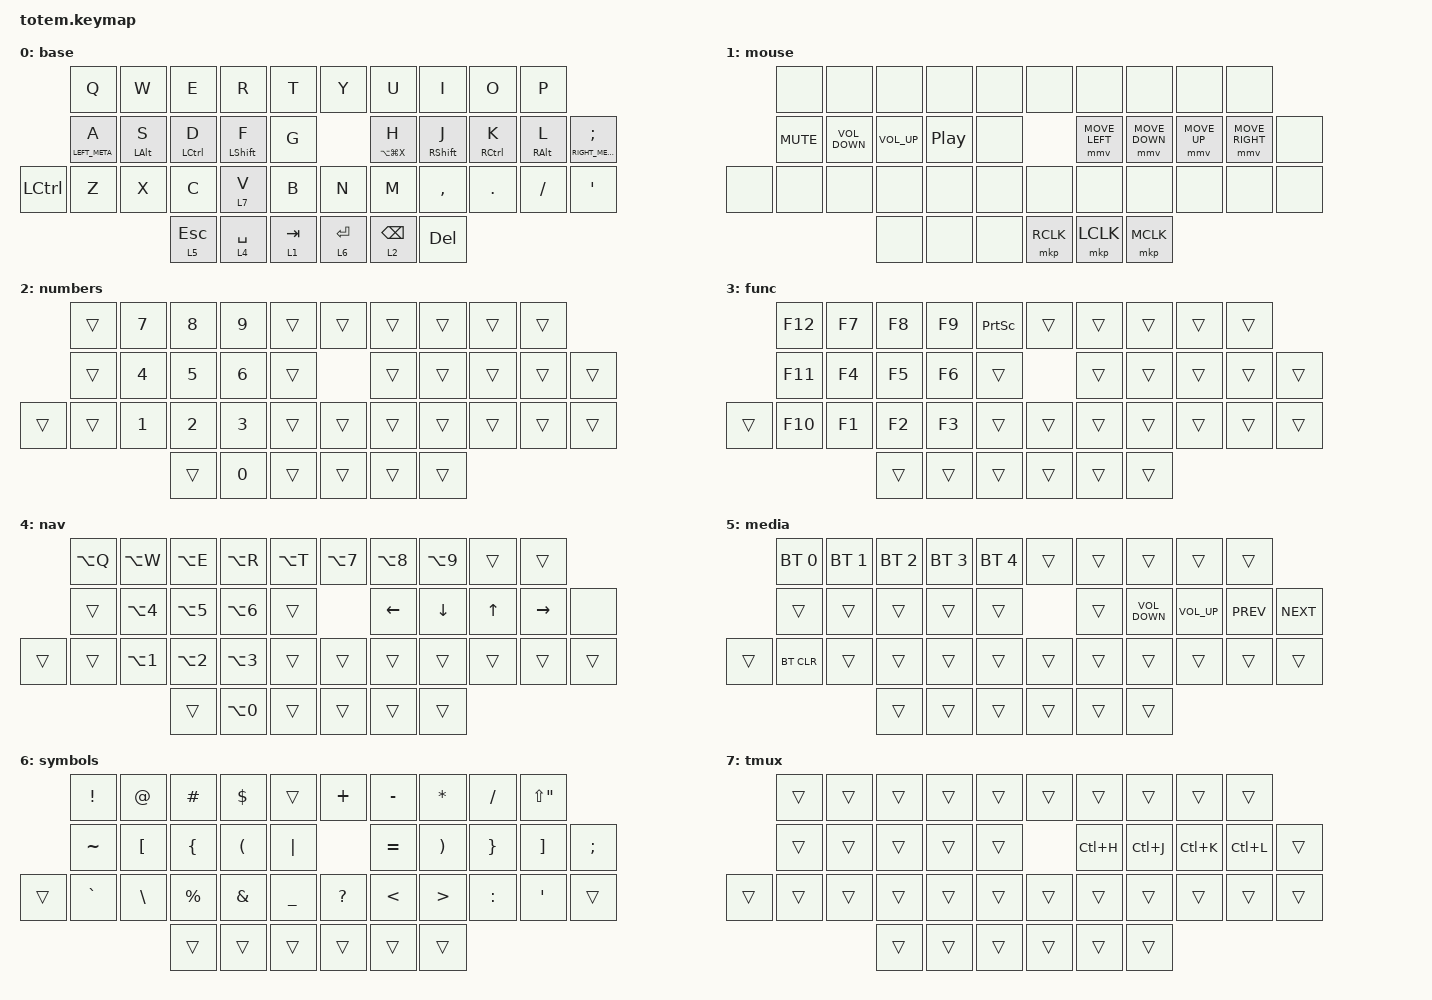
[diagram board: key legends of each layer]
//
//                                                        ▀▀▀▀▀     ▀▀▀▀▀          ▀▀█▀▀
//                                                        ▄▀▀▀▄  ▄  ▄▀▀▀▄  ▄  ▄▀▀▀▄  █  ▄▀▀▀▄
//                                                        █   █  █  █   █  █  █   █  █  █   █
//                                                         ▀▀▀   █   ▀▀▀   █   ▀▀▀   ▀   ▀▀▀
//                                                               █      ▄▄▄█▄▄▄    █   █  
//                                                               ▀      █  █  █     █▄█
//                                                             ▀▀▀▀▀    █  █  █      ▀
//                                                                      ▀  ▀  ▀
//
// ▄▄▄▄▄▄▄▄▄▄▄▄▄▄▄▄▄▄▄▄▄▄▄▄▄▄▄▄▄▄▄▄▄▄▄▄▄▄▄▄▄▄▄▄▄▄▄▄▄▄▄▄▄▄▄▄▄▄▄▄▄▄▄▄▄▄▄▄▄▄▄▄▄▄▄▄▄▄▄▄▄▄▄▄▄▄▄▄▄▄▄▄▄▄▄▄▄▄▄▄▄▄▄▄▄▄▄▄▄▄▄▄▄▄▄▄▄▄▄▄▄▄▄▄▄▄▄▄▄▄▄▄▄▄▄▄▄▄▄▄▄▄▄▄▄▄▄▄▄

#define ZMK_POINTING_DEFAULT_MOVE_VAL 750
#define ZMK_POINTING_DEFAULT_SCRL_VAL 12

#include <behaviors.dtsi>
#include <dt-bindings/zmk/bt.h>
#include <dt-bindings/zmk/keys.h>
#include <dt-bindings/zmk/pointing.h>

/ {
    behaviors {
        hml: homerow_mods_left {
            compatible = "zmk,behavior-hold-tap";
            #binding-cells = <2>;
            flavor = "balanced";
            tapping-term-ms = <280>;
            quick-tap-ms = <175>;
            require-prior-idle-ms = <150>;
            bindings = <&kp>, <&kp>;
            hold-trigger-key-positions = <5 6 7 8 9 15 16 17 18 19 25 26 27 28 29 32 33>;
            hold-trigger-on-release;
        };
        
        ltl: layer_tap_left {
            compatible = "zmk,behavior-hold-tap";
            #binding-cells = <2>;
            flavor = "balanced";
            tapping-term-ms = <280>;
            quick-tap-ms = <175>;
            require-prior-idle-ms = <150>;
            bindings = <&mo>, <&kp>;
            hold-trigger-key-positions = <5 6 7 8 9 15 16 17 18 19 25 26 27 28 29 32 33 34 35>;
            hold-trigger-on-release;
        };

        hmr: homerow_mods_right {
            compatible = "zmk,behavior-hold-tap";
            #binding-cells = <2>;
            flavor = "balanced";
            tapping-term-ms = <280>;
            quick-tap-ms = <175>;
            require-prior-idle-ms = <150>;
            bindings = <&kp>, <&kp>;
            hold-trigger-key-positions = <0 1 2 3 4 10 11 12 13 14 20 21 22 23 24 30 31>;
            hold-trigger-on-release;
        };

        // Hold = fire warpd activation chord once (self-contained, no trailing key),
        // tap = the key. tap-preferred (not balanced) so fast-typed letters like the
        // common H never misfire the chord — only a deliberate hold past the term does.
        hrw: hold_warpd {
            compatible = "zmk,behavior-hold-tap";
            #binding-cells = <2>;
            flavor = "tap-preferred";
            tapping-term-ms = <280>;
            quick-tap-ms = <175>;
            require-prior-idle-ms = <150>;
            bindings = <&kp>, <&kp>;
        };
    };

    combos {
        compatible = "zmk,combos";

        right_arrow {
            bindings = <&kp RIGHT_ARROW>;
            key-positions = <26 27>;
        };

        left_arrow {
            bindings = <&kp LEFT>;
            key-positions = <24 25>;
        };

    };

    keymap {
        compatible = "zmk,keymap";

        base {
            bindings = <
           &kp Q            &kp W           &kp E         &kp R             &kp T        &kp Y        &kp U              &kp I                &kp O            &kp P
           &hml LEFT_META A  &hml LEFT_ALT S  &hml LCTRL D   &hml LEFT_SHIFT F  &kp G        &hrw LA(LG(X)) H  &hmr RIGHT_SHIFT J  &hmr RIGHT_CONTROL K  &hmr RIGHT_ALT L  &hmr RIGHT_META SEMI
&kp LCTRL  &kp Z            &kp X           &kp C         &ltl 7 V          &kp B        &kp N        &kp M              &kp COMMA            &kp DOT          &kp FSLH             &kp APOS
                                            &lt 5 ESCAPE  &lt 4 SPACE       &lt 1 TAB    &lt 6 ENTER  &lt 2 BACKSPACE    &kp DELETE
            >;
        };

        mouse {
            bindings = <
       &none       &none              &none            &none             &none    &none           &none           &none         &none            &none
       &kp K_MUTE  &kp C_VOLUME_DOWN  &kp C_VOLUME_UP  &kp C_PLAY_PAUSE  &none    &mmv MOVE_LEFT  &mmv MOVE_DOWN  &mmv MOVE_UP  &mmv MOVE_RIGHT  &none
&none  &none       &none              &none            &none             &none    &none           &none           &none         &none            &none  &none
                                      &none            &none             &none    &mkp RCLK       &mkp LCLK       &mkp MCLK
            >;
        };

        numbers {
            bindings = <
        &trans  &kp N7  &kp N8  &kp N9  &trans    &trans  &trans  &trans  &trans  &trans
        &trans  &kp N4  &kp N5  &kp N6  &trans    &trans  &trans  &trans  &trans  &trans
&trans  &trans  &kp N1  &kp N2  &kp N3  &trans    &trans  &trans  &trans  &trans  &trans  &trans
                        &trans  &kp N0  &trans    &trans  &trans  &trans
            >;
        };

        func {
            bindings = <
        &kp F12  &kp F7  &kp F8  &kp F9  &kp PRINTSCREEN    &trans  &trans  &trans  &trans  &trans
        &kp F11  &kp F4  &kp F5  &kp F6  &trans             &trans  &trans  &trans  &trans  &trans
&trans  &kp F10  &kp F1  &kp F2  &kp F3  &trans             &trans  &trans  &trans  &trans  &trans  &trans
                         &trans  &trans  &trans             &trans  &trans  &trans
            >;
        };

        nav {
            bindings = <
        &kp LA(Q)  &kp LA(W)   &kp LA(E)   &kp LA(R)   &kp LA(T)    &kp LA(N7)  &kp LA(N8)      &kp LA(N9)    &trans     &trans
        &trans  &kp LA(N4)  &kp LA(N5)  &kp LA(N6)  &trans    &kp LEFT  &kp DOWN_ARROW  &kp UP_ARROW  &kp RIGHT  &none
&trans  &trans  &kp LA(N1)  &kp LA(N2)  &kp LA(N3)  &trans    &trans    &trans          &trans        &trans     &trans  &trans
                            &trans      &kp LA(N0)  &trans    &trans    &trans          &trans
            >;
        };

        media {
            bindings = <
        &bt BT_SEL 0  &bt BT_SEL 1  &bt BT_SEL 2  &bt BT_SEL 3  &bt BT_SEL 4    &trans  &trans      &trans           &trans             &trans
        &trans        &trans        &trans        &trans        &trans          &trans  &kp C_VOLUME_DOWN  &kp C_VOLUME_UP  &kp C_PREV  &kp C_NEXT
&trans  &bt BT_CLR    &trans        &trans        &trans        &trans          &trans  &trans      &trans           &trans             &trans      &trans
                                    &trans        &trans        &trans          &trans  &trans      &trans
            >;
        };

        symbols {
            bindings = <
        &kp EXCLAMATION  &kp AT            &kp HASH        &kp DOLLAR            &trans       &kp PLUS      &kp MINUS              &kp ASTERISK      &kp SLASH          &kp LS(DOUBLE_QUOTES)
        &kp TILDE        &kp LEFT_BRACKET  &kp LEFT_BRACE  &kp LEFT_PARENTHESIS  &kp PIPE     &kp EQUAL     &kp RIGHT_PARENTHESIS  &kp RIGHT_BRACE   &kp RIGHT_BRACKET  &kp SEMICOLON
&trans  &kp GRAVE        &kp BACKSLASH     &kp PERCENT     &kp AMPERSAND         &kp UNDER    &kp QUESTION  &kp LESS_THAN          &kp GREATER_THAN  &kp COLON          &kp SQT                &trans
                                           &trans          &trans                &trans       &trans        &trans                 &trans
            >;
        };

        tmux {
            bindings = <
        &trans  &trans  &trans  &trans  &trans          &trans      &trans      &trans      &trans       &trans
        &trans  &trans  &trans  &trans  &trans          &kp LC(H)   &kp LC(J)   &kp LC(K)   &kp LC(L)    &trans
&trans  &trans  &trans  &trans  &trans  &trans          &trans      &trans      &trans      &trans       &trans  &trans
                        &trans  &trans  &trans          &trans      &trans      &trans
            >;
        };
    };

    conditional_layers {
        compatible = "zmk,conditional-layers";
    };
};
